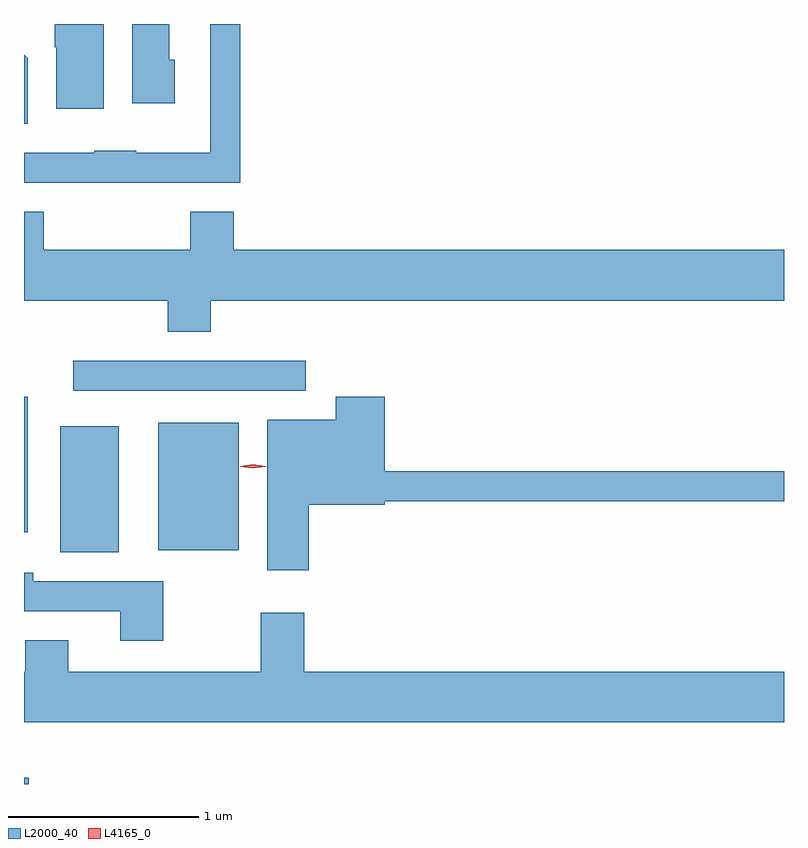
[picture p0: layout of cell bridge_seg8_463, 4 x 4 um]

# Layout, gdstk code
import gdstk
lib = gdstk.Library(unit=1e-6, precision=1e-09)
def R(c, l, rs):  # rectangles x0, y0, x1, y1
    for r in rs: c.add(gdstk.rectangle(r[:2], r[2:], *l))
def P(c, l, *ps):  # polygons
    for p in ps: c.add(gdstk.Polygon(p, *l))
L2000_40 = (2000, 40)
L4165_0 = (4165, 0)

bridge_seg8_463 = lib.new_cell('bridge_seg8_463')
R(bridge_seg8_463, L2000_40, [(597.685,1891.592,597.709,1891.624), (597.876,1892.811,598.184,1893.474), (598.391,1892.821,598.814,1893.494), (597.685,1892.916,597.704,1893.629), (597.943,1893.661,599.168,1893.819)])
P(bridge_seg8_463, L2000_40, [(598.104,1895.592),(597.846,1895.592),(597.846,1895.47),(597.856,1895.47),(597.856,1895.146),(598.104,1895.146)],
  [(598.824,1895.592),(598.666,1895.592),(598.666,1894.914),(598.275,1894.914),(598.275,1894.924),(598.055,1894.924),(598.055,1894.914),(597.685,1894.914),(597.685,1894.756),(598.824,1894.756)],
  [(598.479,1895.404),(598.449,1895.404),(598.449,1895.592),(598.256,1895.592),(598.256,1895.176),(598.479,1895.176)],
  [(597.704,1895.412),(597.685,1895.431),(597.685,1895.066),(597.704,1895.066)],
  [(598.669,1894.136),(601.685,1894.136),(601.685,1894.404),(598.789,1894.404),(598.789,1894.604),(598.561,1894.604),(598.561,1894.404),(597.789,1894.404),(597.789,1894.604),(597.685,1894.604),(597.685,1894.136),(598.441,1894.136),(598.441,1893.971),(598.669,1893.971)],
  [(599.184,1893.061),(599.584,1893.061),(599.584,1893.081),(601.685,1893.081),(601.685,1893.239),(599.584,1893.239),(599.584,1893.629),(599.326,1893.629),(599.326,1893.509),(598.966,1893.509),(598.966,1892.716),(599.184,1892.716)],
  [(598.419,1892.659),(597.734,1892.659),(597.734,1892.704),(597.685,1892.704),(597.685,1892.501),(598.191,1892.501),(598.191,1892.346),(598.419,1892.346)],
  [(601.685,1892.184),(599.159,1892.184),(599.159,1892.494),(598.931,1892.494),(598.931,1892.184),(597.919,1892.184),(597.919,1892.349),(597.691,1892.349),(597.691,1892.184),(597.685,1892.184),(597.685,1891.916),(601.685,1891.916)])
P(bridge_seg8_463, L4165_0, [(598.89,1893.254),(598.824,1893.263),(598.823,1893.264),(598.824,1893.264),(598.89,1893.274),(598.956,1893.264),(598.957,1893.264),(598.956,1893.263)])

lib.write_gds('bridge_seg8_463.gds')
